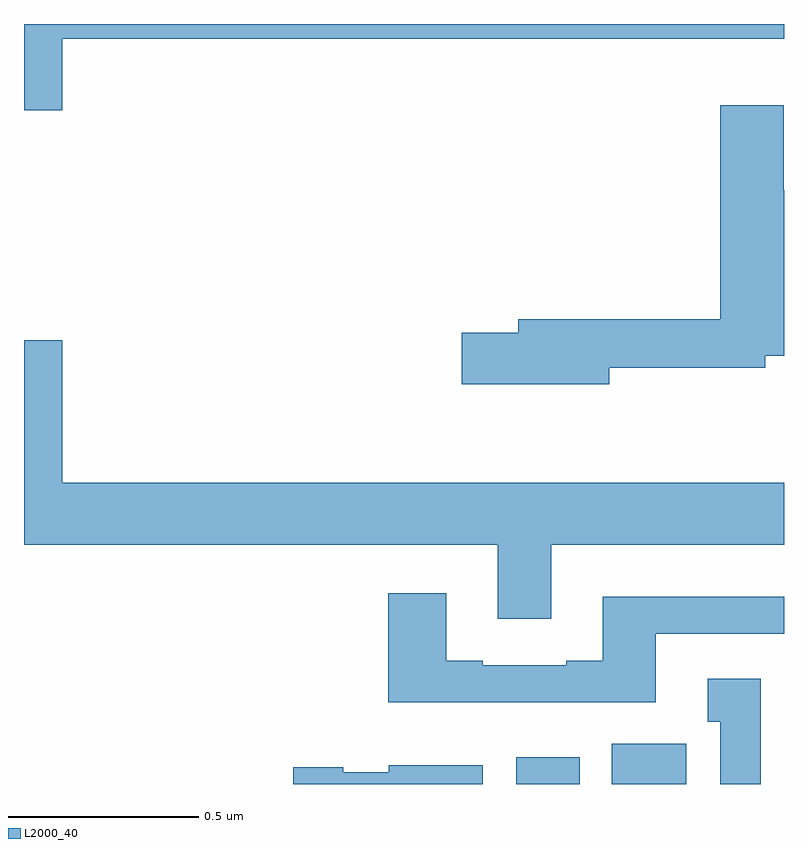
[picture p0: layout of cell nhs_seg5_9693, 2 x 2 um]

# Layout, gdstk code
import gdstk
lib = gdstk.Library(unit=1e-6, precision=1e-09)
def R(c, l, rs):  # rectangles x0, y0, x1, y1
    for r in rs: c.add(gdstk.rectangle(r[:2], r[2:], *l))
def P(c, l, *ps):  # polygons
    for p in ps: c.add(gdstk.Polygon(p, *l))
L2000_40 = (2000, 40)

nhs_seg5_9693 = lib.new_cell('nhs_seg5_9693')
R(nhs_seg5_9693, L2000_40, [(238.295,854.799,238.462,854.869), (238.547,854.799,238.743,854.905)])
P(nhs_seg5_9693, L2000_40, [(237.1,856.76),(239,856.76),(239,856.799),(237,856.799),(237,856.572),(237.1,856.572)],
  [(238.54,855.894),(238.95,855.894),(238.95,855.926),(239,855.926),(239,856.361),(238.999,856.361),(238.999,856.585),(238.832,856.585),(238.832,856.022),(238.301,856.022),(238.301,855.986),(238.152,855.986),(238.152,855.851),(238.54,855.851)],
  [(238.387,855.428),(239,855.428),(239,855.592),(237.1,855.592),(237.1,855.967),(237,855.967),(237,855.428),(238.247,855.428),(238.247,855.234),(238.387,855.234)],
  [(238.663,855.195),(239,855.195),(239,855.292),(238.523,855.292),(238.523,855.124),(238.427,855.124),(238.427,855.111),(238.207,855.111),(238.207,855.124),(238.111,855.124),(238.111,855.301),(237.959,855.301),(237.959,855.014),(238.663,855.014)],
  [(238.939,855.076),(238.799,855.076),(238.799,854.963),(238.832,854.963),(238.832,854.799),(238.939,854.799)],
  [(238.207,854.848),(237.96,854.848),(237.96,854.83),(237.84,854.83),(237.84,854.843),(237.708,854.843),(237.708,854.799),(238.207,854.799)])

lib.write_gds('nhs_seg5_9693.gds')
